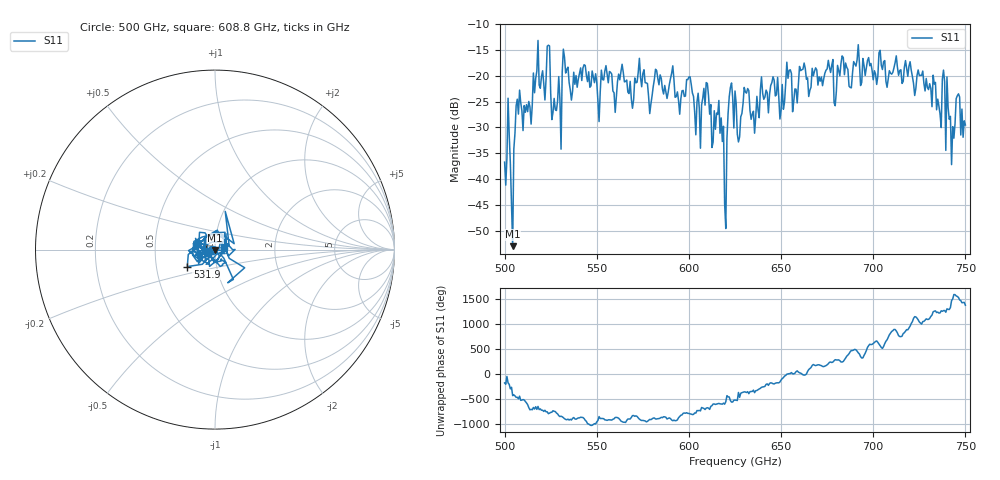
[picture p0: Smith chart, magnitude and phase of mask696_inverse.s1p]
!Created with skrf (http://scikit-rf.org).
# GHz S MA R 50.0
!freq magS11 angS11
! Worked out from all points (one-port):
!   401 points, 500 GHz to 750 GHz, reference 50 ohm
!   lowest |S11| = -53.0 dB at 504.4 GHz (marker M1), VSWR 1.00, Z = 50.1 - j0.21 ohm
!   |S11| at or under -10 dB: start of sweep to end of sweep
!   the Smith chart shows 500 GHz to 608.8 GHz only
!   S11 on the Smith chart (normalised r, x): 500 GHz: 0.97, -0.00; 531.9 GHz: 0.72, -0.14; 608.8 GHz: 1.11, +0.03
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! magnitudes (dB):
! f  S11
! 500 GHz  -36.7
! 501.9 GHz  -24.3
! 504.4 GHz  -53.0
! 507.5 GHz  -27.4
! 513.8 GHz  -26.0
! 516.9 GHz  -20.5
! 523.8 GHz  -14.1
! 526.9 GHz  -24.4
! 531.2 GHz  -19.3
! 531.9 GHz  -14.8
! 562.5 GHz  -20.8
! 579.4 GHz  -25.4
! 590.6 GHz  -19.5
! 593.8 GHz  -23.1
! 600 GHz  -20.2
! 605 GHz  -23.4
! 608.8 GHz  -25.7
! 617.5 GHz  -28.2
! 619.4 GHz  -44.8
! 622.5 GHz  -22.3
! 625 GHz  -22.9
! 656.2 GHz  -26.9
! 687.5 GHz  -22.3
! 718.8 GHz  -20.1
! 738.8 GHz  -21.1
! 742.5 GHz  -37.2
! 745.6 GHz  -23.8
! 750 GHz  -29.5
